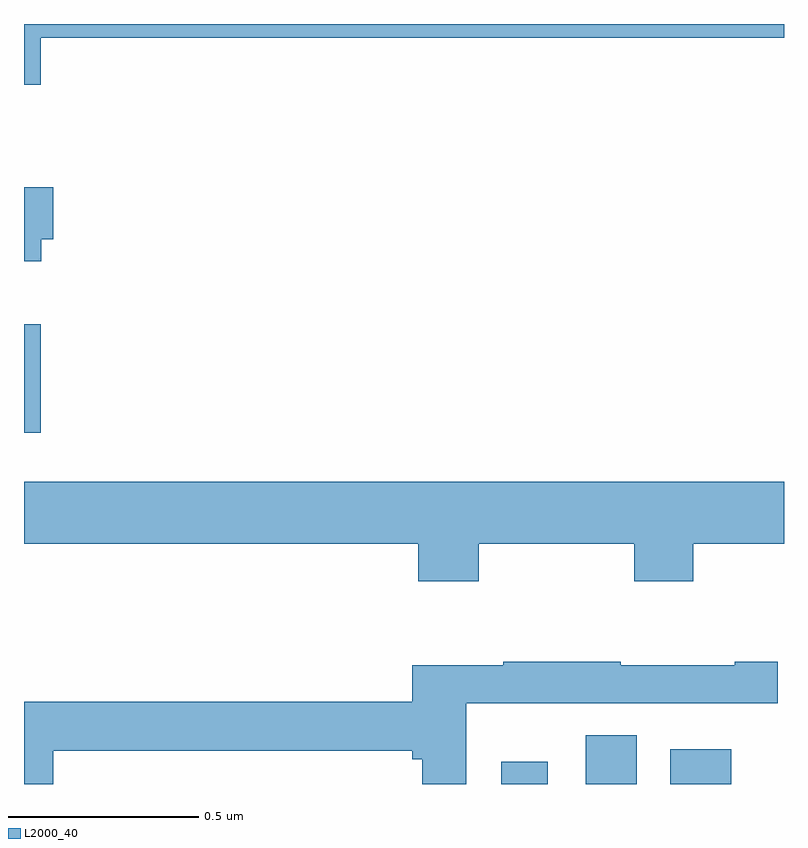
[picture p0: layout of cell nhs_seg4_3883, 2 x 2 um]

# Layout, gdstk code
import gdstk
lib = gdstk.Library(unit=1e-6, precision=1e-09)
def R(c, l, rs):  # rectangles x0, y0, x1, y1
    for r in rs: c.add(gdstk.rectangle(r[:2], r[2:], *l))
def P(c, l, *ps):  # polygons
    for p in ps: c.add(gdstk.Polygon(p, *l))
L2000_40 = (2000, 40)

nhs_seg4_3883 = lib.new_cell('nhs_seg4_3883')
R(nhs_seg4_3883, L2000_40, [(160.256,750.9,160.378,750.958), (160.478,750.9,160.612,751.028), (160.7,750.9,160.861,750.991), (159,751.824,159.044,752.11)])
P(nhs_seg4_3883, L2000_40, [(159.044,752.864),(161,752.864),(161,752.9),(159,752.9),(159,752.74),(159.044,752.74)],
  [(159.046,752.334),(159.077,752.334),(159.077,752.47),(159,752.47),(159,752.276),(159.046,752.276)],
  [(160.197,751.532),(160.606,751.532),(160.606,751.433),(160.761,751.433),(160.761,751.532),(161,751.532),(161,751.696),(159,751.696),(159,751.532),(160.037,751.532),(160.037,751.433),(160.197,751.433)],
  [(159.077,750.988),(160.022,750.988),(160.022,750.965),(160.048,750.965),(160.048,750.9),(160.164,750.9),(160.164,751.112),(160.374,751.112),(160.374,751.113),(160.984,751.113),(160.984,751.222),(160.871,751.222),(160.871,751.212),(160.571,751.212),(160.571,751.222),(160.261,751.222),(160.261,751.212),(160.022,751.212),(160.022,751.117),(159,751.117),(159,750.9),(159.077,750.9)])

lib.write_gds('nhs_seg4_3883.gds')
